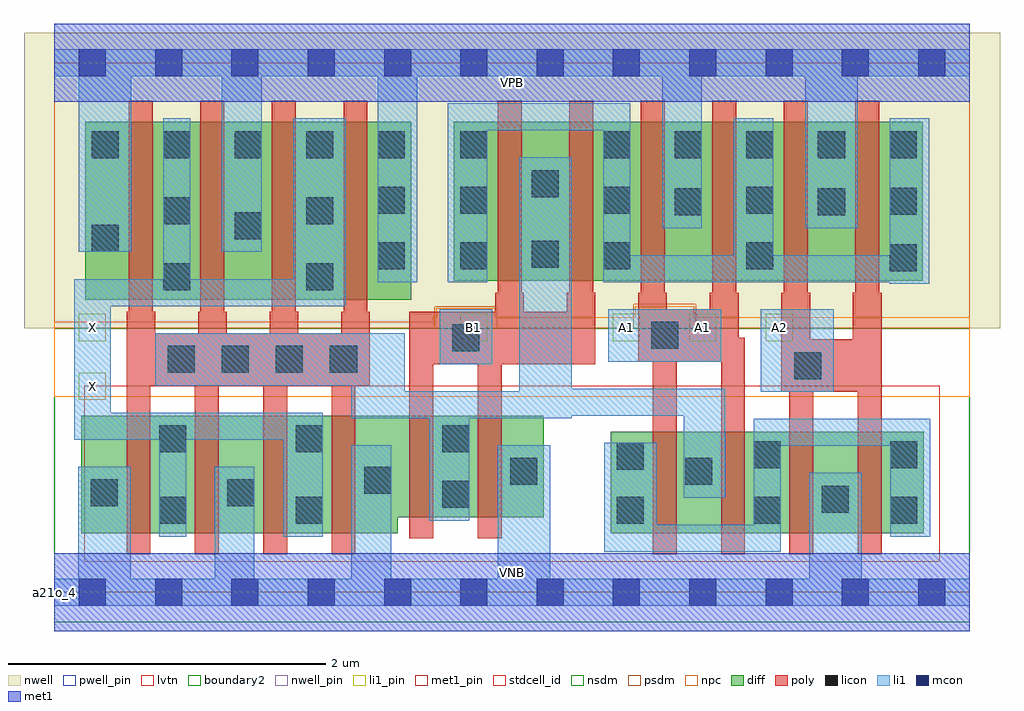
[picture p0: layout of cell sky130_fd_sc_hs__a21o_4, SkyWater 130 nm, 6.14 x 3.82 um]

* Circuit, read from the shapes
.subckt sky130_fd_sc_hs__a21o_4 A1 A2 B1 VGND VNB VPB VPWR X
XM1 X n1 VGND VNB sky130_fd_pr__nfet_01v8_lvt w=0.74 l=0.15 m=4
XM2 n1 B1 VGND VNB sky130_fd_pr__nfet_01v8_lvt w=0.64 l=0.15 m=2
XM3 n1 A1 n2 VNB sky130_fd_pr__nfet_01v8_lvt w=0.64 l=0.15 m=2
XM4 VGND A2 n2 VNB sky130_fd_pr__nfet_01v8_lvt w=0.64 l=0.15 m=2
XM5 X n1 VPWR VPB sky130_fd_pr__pfet_01v8 w=1.12 l=0.15 m=4
XM6 n1 B1 n3 VPB sky130_fd_pr__pfet_01v8 w=1 l=0.15 m=2
XM7 VPWR A1 n3 VPB sky130_fd_pr__pfet_01v8 w=1 l=0.15 m=2
XM8 VPWR A2 n3 VPB sky130_fd_pr__pfet_01v8 w=1 l=0.15 m=2
.ends

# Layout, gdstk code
import gdstk
lib = gdstk.Library(unit=1e-6, precision=1e-09)
def R(c, l, rs):  # rectangles x0, y0, x1, y1
    for r in rs: c.add(gdstk.rectangle(r[:2], r[2:], *l))
def A(c, l, x, y, w, h, nx, ny, dx, dy):  # array of equal rectangles
    R(c, l, [(x+i*dx, y+j*dy, x+i*dx+w, y+j*dy+h) for i in range(nx) for j in range(ny)])
def P(c, l, *ps):  # polygons
    for p in ps: c.add(gdstk.Polygon(p, *l))
nwell_pin = (64, 16)
nwell = (64, 20)
diff = (65, 20)
poly = (66, 20)
licon = (66, 44)
li1_pin = (67, 16)
li1 = (67, 20)
mcon = (67, 44)
met1_pin = (68, 16)
met1 = (68, 20)
stdcell_id = (81, 4)
nsdm = (93, 44)
psdm = (94, 20)
npc = (95, 20)
pwell_pin = (122, 16)
lvtn = (125, 44)
boundary2 = (236, 0)

sky130_fd_sc_hs__a21o_4 = lib.new_cell('sky130_fd_sc_hs__a21o_4')
R(sky130_fd_sc_hs__a21o_4, nwell_pin, [(0,3.085,5.76,3.33)])
R(sky130_fd_sc_hs__a21o_4, nwell, [(-0.19,1.66,5.95,3.52)])
R(sky130_fd_sc_hs__a21o_4, diff, [(3.5,0.37,5.47,1.01), (0.195,1.84,2.245,2.96), (2.515,1.96,5.465,2.96)])
P(sky130_fd_sc_hs__a21o_4, diff, [(3.08,1.11),(0.17,1.11),(0.17,0.37),(2.16,0.37),(2.16,0.47),(3.08,0.47)])
P(sky130_fd_sc_hs__a21o_4, poly, [(1.985,1.765),(1.97,1.765),(1.97,3.09),(1.82,3.09),(1.82,1.765),(1.805,1.765),(1.805,1.63),(1.535,1.63),(1.535,1.765),(1.52,1.765),(1.52,3.09),(1.37,3.09),(1.37,1.765),(1.355,1.765),(1.355,1.63),(1.085,1.63),(1.085,1.765),(1.07,1.765),(1.07,3.09),(0.92,3.09),(0.92,1.765),(0.905,1.765),(0.905,1.63),(0.635,1.63),(0.635,1.765),(0.62,1.765),(0.62,3.09),(0.47,3.09),(0.47,1.765),(0.455,1.765),(0.455,0.24),(0.605,0.24),(0.605,1.3),(0.885,1.3),(0.885,0.24),(1.035,0.24),(1.035,1.3),(1.315,1.3),(1.315,0.24),(1.465,0.24),(1.465,1.3),(1.745,1.3),(1.745,0.24),(1.895,0.24),(1.895,1.3),(1.985,1.3)],
  [(3.405,1.885),(3.39,1.885),(3.39,3.09),(3.24,3.09),(3.24,1.885),(3.225,1.885),(3.225,1.765),(2.955,1.765),(2.955,1.885),(2.94,1.885),(2.94,3.09),(2.79,3.09),(2.79,1.885),(2.775,1.885),(2.775,1.765),(2.235,1.765),(2.235,0.34),(2.385,0.34),(2.385,1.435),(2.665,1.435),(2.665,0.34),(2.815,0.34),(2.815,1.435),(3.405,1.435)],
  [(4.345,1.6),(4.305,1.6),(4.305,1.885),(4.29,1.885),(4.29,3.09),(4.14,3.09),(4.14,1.885),(4.125,1.885),(4.125,1.78),(3.855,1.78),(3.855,1.885),(3.84,1.885),(3.84,3.09),(3.69,3.09),(3.69,1.885),(3.675,1.885),(3.675,1.45),(3.765,1.45),(3.765,0.24),(3.915,0.24),(3.915,1.45),(4.195,1.45),(4.195,0.24),(4.345,0.24)],
  [(5.205,1.885),(5.19,1.885),(5.19,3.09),(5.04,3.09),(5.04,1.885),(5.025,1.885),(5.025,1.59),(4.755,1.59),(4.755,1.885),(4.74,1.885),(4.74,3.09),(4.59,3.09),(4.59,1.885),(4.575,1.885),(4.575,1.26),(4.625,1.26),(4.625,0.24),(4.775,0.24),(4.775,1.26),(5.055,1.26),(5.055,0.24),(5.205,0.24)])
A(sky130_fd_sc_hs__a21o_4, licon, 3.54, 0.43, 0.17, 0.17, 3, 1, 0.86, 0)
A(sky130_fd_sc_hs__a21o_4, licon, 0.715, 1.38, 0.17, 0.17, 4, 1, 0.34, 0)
A(sky130_fd_sc_hs__a21o_4, licon, 2.555, 2.03, 0.17, 0.17, 3, 2, 0.9, 0.35)
A(sky130_fd_sc_hs__a21o_4, licon, 0.235, 2.73, 0.17, 0.17, 5, 1, 0.45, 0)
A(sky130_fd_sc_hs__a21o_4, licon, 3.455, 2.73, 0.17, 0.17, 5, 1, 0.45, 0)
R(sky130_fd_sc_hs__a21o_4, licon, [(0.66,0.43,0.83,0.6), (1.52,0.43,1.69,0.6), (4.83,0.5,5,0.67), (2.44,0.53,2.61,0.7), (0.23,0.54,0.4,0.71), (1.09,0.54,1.26,0.71), (1.95,0.62,2.12,0.79), (2.87,0.675,3.04,0.845), (3.97,0.675,4.14,0.845), (3.54,0.77,3.71,0.94), (4.4,0.78,4.57,0.95), (5.26,0.78,5.43,0.95), (0.66,0.88,0.83,1.05), (1.52,0.88,1.69,1.05), (2.44,0.88,2.61,1.05), (4.655,1.34,4.825,1.51), (2.505,1.515,2.675,1.685), (3.755,1.53,3.925,1.7), (0.685,1.9,0.855,2.07), (1.585,1.9,1.755,2.07), (5.255,2.02,5.425,2.19), (2.035,2.03,2.205,2.2), (3.005,2.04,3.175,2.21), (0.235,2.14,0.405,2.31), (1.135,2.22,1.305,2.39), (0.685,2.315,0.855,2.485), (1.585,2.315,1.755,2.485), (3.905,2.37,4.075,2.54), (4.805,2.37,4.975,2.54), (5.255,2.375,5.425,2.545), (2.035,2.38,2.205,2.55), (3.005,2.485,3.175,2.655), (2.555,2.73,2.725,2.9)])
A(sky130_fd_sc_hs__a21o_4, li1_pin, 3.515, 1.58, 0.17, 0.17, 3, 1, 0.48, 0)
R(sky130_fd_sc_hs__a21o_4, li1_pin, [(0.155,1.21,0.325,1.38), (0.155,1.58,0.325,1.75), (2.555,1.58,2.725,1.75)])
R(sky130_fd_sc_hs__a21o_4, li1, [(4.445,1.26,4.905,1.78), (2.425,1.435,2.755,1.78), (3.485,1.45,4.195,1.78)])
P(sky130_fd_sc_hs__a21o_4, li1, [(2.035,1.95),(2.035,3.245),(1.305,3.245),(1.305,2.14),(1.055,2.14),(1.055,3.245),(0.485,3.245),(0.485,2.14),(0.155,2.14),(0.155,3.245),(0,3.245),(0,3.415),(5.76,3.415),(5.76,3.245),(5.055,3.245),(5.055,2.29),(4.725,2.29),(4.725,3.245),(4.075,3.245),(4.075,2.29),(3.825,2.29),(3.825,3.245),(2.285,3.245),(2.285,1.95)],
  [(2.79,0.085),(2.79,0.925),(3.12,0.925),(3.12,0.085),(4.75,0.085),(4.75,0.75),(5.08,0.75),(5.08,0.085),(5.76,0.085),(5.76,-0.085),(0,-0.085),(0,0.085),(0.15,0.085),(0.15,0.79),(0.48,0.79),(0.48,0.085),(1.01,0.085),(1.01,0.79),(1.26,0.79),(1.26,0.085),(1.87,0.085),(1.87,0.925),(2.12,0.925),(2.12,0.085)],
  [(0.355,1.13),(1.69,1.13),(1.69,0.35),(1.44,0.35),(1.44,0.96),(0.83,0.96),(0.83,0.35),(0.66,0.35),(0.66,0.96),(0.125,0.96),(0.125,1.97),(0.685,1.97),(0.685,2.98),(0.855,2.98),(0.855,1.97),(1.505,1.97),(1.505,2.98),(1.835,2.98),(1.835,1.8),(0.355,1.8)],
  [(4.22,1.28),(3.255,1.28),(3.255,2.735),(2.925,2.735),(2.925,1.265),(2.205,1.265),(2.205,1.63),(0.635,1.63),(0.635,1.3),(1.87,1.3),(1.87,1.095),(2.36,1.095),(2.36,0.45),(2.61,0.45),(2.61,1.095),(3.255,1.095),(3.255,1.11),(3.96,1.11),(3.96,0.595),(4.22,0.595)],
  [(3.455,1.95),(3.455,2.905),(2.725,2.905),(2.725,1.95),(2.475,1.95),(2.475,3.075),(3.625,3.075),(3.625,2.12),(4.275,2.12),(4.275,2.98),(4.525,2.98),(4.525,2.12),(5.255,2.12),(5.255,2.98),(5.505,2.98),(5.505,1.94),(5.255,1.94),(5.255,1.95)],
  [(5.51,1.09),(4.4,1.09),(4.4,0.425),(3.79,0.425),(3.79,0.94),(3.46,0.94),(3.46,0.255),(4.57,0.255),(4.57,0.92),(5.26,0.92),(5.26,0.35),(5.51,0.35)])
A(sky130_fd_sc_hs__a21o_4, mcon, 0.155, -0.085, 0.17, 0.17, 12, 2, 0.48, 3.33)
R(sky130_fd_sc_hs__a21o_4, met1_pin, [(0,0,5.76,0.245), (0,3.085,5.76,3.33)])
R(sky130_fd_sc_hs__a21o_4, met1, [(0,-0.245,5.76,0.245), (0,3.085,5.76,3.575)])
R(sky130_fd_sc_hs__a21o_4, stdcell_id, [(0,0,5.76,3.33)])
R(sky130_fd_sc_hs__a21o_4, nsdm, [(0,-0.19,5.76,1.66)])
P(sky130_fd_sc_hs__a21o_4, psdm, [(5.76,3.52),(0,3.52),(0,1.66),(2.395,1.66),(2.395,1.795),(2.785,1.795),(2.785,1.66),(3.645,1.66),(3.645,1.81),(4.035,1.81),(4.035,1.66),(5.76,1.66)])
P(sky130_fd_sc_hs__a21o_4, npc, [(5.76,1.73),(4.025,1.73),(4.025,1.8),(3.655,1.8),(3.655,1.73),(2.775,1.73),(2.775,1.785),(2.405,1.785),(2.405,1.73),(2.385,1.73),(2.385,1.7),(0,1.7),(0,1.23),(5.76,1.23)])
R(sky130_fd_sc_hs__a21o_4, pwell_pin, [(0,0,5.76,0.245)])
R(sky130_fd_sc_hs__a21o_4, lvtn, [(0.19,0.19,5.57,1.3)])
R(sky130_fd_sc_hs__a21o_4, boundary2, [(0,0,5.76,3.33)])
sky130_fd_sc_hs__a21o_4.add(gdstk.Label('a21o_4', (0,0), layer=83, texttype=44))
sky130_fd_sc_hs__a21o_4.add(gdstk.Label('VNB', (2.88,0.123), layer=64, texttype=59))
sky130_fd_sc_hs__a21o_4.add(gdstk.Label('VPB', (2.88,3.208), layer=64, texttype=5))
sky130_fd_sc_hs__a21o_4.add(gdstk.Label('VPWR', (2.88,3.208), layer=68, texttype=5))
sky130_fd_sc_hs__a21o_4.add(gdstk.Label('VGND', (2.88,0.123), layer=68, texttype=5))
sky130_fd_sc_hs__a21o_4.add(gdstk.Label('X', (0.24,1.295), layer=67, texttype=5))
sky130_fd_sc_hs__a21o_4.add(gdstk.Label('X', (0.24,1.665), layer=67, texttype=5))
sky130_fd_sc_hs__a21o_4.add(gdstk.Label('B1', (2.64,1.665), layer=67, texttype=5))
sky130_fd_sc_hs__a21o_4.add(gdstk.Label('A2', (4.56,1.665), layer=67, texttype=5))
sky130_fd_sc_hs__a21o_4.add(gdstk.Label('A1', (3.6,1.665), layer=67, texttype=5))
sky130_fd_sc_hs__a21o_4.add(gdstk.Label('A1', (4.08,1.665), layer=67, texttype=5))

lib.write_gds('sky130_fd_sc_hs__a21o_4.gds')
